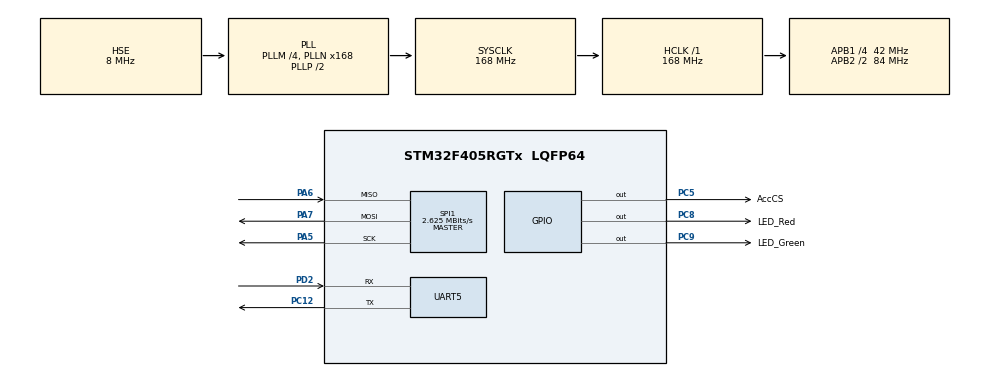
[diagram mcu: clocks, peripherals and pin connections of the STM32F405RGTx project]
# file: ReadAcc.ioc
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Mcu.Family=STM32F4
Mcu.Name=STM32F405RGTx
Mcu.Package=LQFP64
NVIC.PriorityGroup=NVIC_PRIORITYGROUP_4
PA13.Mode=JTAG_5_pins
PA13.Signal=SYS_JTMS-SWDIO
PA14.Mode=JTAG_5_pins
PA14.Signal=SYS_JTCK-SWCLK
PA15.Mode=JTAG_5_pins
PA15.Signal=SYS_JTDI
PA5.Mode=Full_Duplex_Master
PA5.Signal=SPI1_SCK
PA6.Mode=Full_Duplex_Master
PA6.Signal=SPI1_MISO
PA7.Mode=Full_Duplex_Master
PA7.Signal=SPI1_MOSI
PB3.Mode=JTAG_5_pins
PB3.Signal=SYS_JTDO-SWO
PB4.Mode=JTAG_5_pins
PB4.Signal=SYS_JTRST
PC12.Mode=Asynchronous
PC12.Signal=UART5_TX
PC5.GPIO_Label=AccCS
PC5.Signal=GPIO_Output
PC8.GPIO_Label=LED_Red
PC8.Signal=GPIO_Output
PC9.GPIO_Label=LED_Green
PC9.Signal=GPIO_Output
PD2.Mode=Asynchronous
PD2.Signal=UART5_RX
PH0-OSC_IN.Mode=HSE-External-Oscillator
PH0-OSC_IN.Signal=RCC_OSC_IN
PH1-OSC_OUT.Mode=HSE-External-Oscillator
PH1-OSC_OUT.Signal=RCC_OSC_OUT
ProjectManager.HeapSize=0x200
ProjectManager.StackSize=0x400
ProjectManager.TargetToolchain=SW4STM32
RCC.48MHZClocksFreq_Value=84000000
RCC.AHBFreq_Value=168000000
RCC.APB1CLKDivider=RCC_HCLK_DIV4
RCC.APB1Freq_Value=42000000
RCC.APB1TimFreq_Value=84000000
RCC.APB2CLKDivider=RCC_HCLK_DIV2
RCC.APB2Freq_Value=84000000
RCC.APB2TimFreq_Value=168000000
RCC.CortexFreq_Value=168000000
RCC.HCLKFreq_Value=168000000
RCC.HSE_VALUE=8000000
RCC.HSI_VALUE=16000000
RCC.LSE_VALUE=32768
RCC.PLLM=4
RCC.PLLN=168
RCC.PLLSourceVirtual=RCC_PLLSOURCE_HSE
RCC.SYSCLKFreq_VALUE=168000000
RCC.SYSCLKSource=RCC_SYSCLKSOURCE_PLLCLK
RCC.VCOOutputFreq_Value=336000000
SPI1.BaudRatePrescaler=SPI_BAUDRATEPRESCALER_32
SPI1.CalculateBaudRate=2.625 MBits/s
SPI1.Direction=SPI_DIRECTION_2LINES
SPI1.FirstBit=SPI_FIRSTBIT_MSB
SPI1.Mode=SPI_MODE_MASTER
SPI1.VirtualType=VM_MASTER
UART5.VirtualMode=Asynchronous
board=ReadAcc

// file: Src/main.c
/**
  ******************************************************************************
  * File Name          : main.c
  * Description        : Main program body
  ******************************************************************************
  *
  * COPYRIGHT(c) 2017 STMicroelectronics
  *
  * Redistribution and use in source and binary forms, with or without modification,
  * are permitted provided that the following conditions are met:
  *   1. Redistributions of source code must retain the above copyright notice,
  *      this list of conditions and the following disclaimer.
  *   2. Redistributions in binary form must reproduce the above copyright notice,
  *      this list of conditions and the following disclaimer in the documentation
  *      and/or other materials provided with the distribution.
  *   3. Neither the name of STMicroelectronics nor the names of its contributors
  *      may be used to endorse or promote products derived from this software
  *      without specific prior written permission.
  *
  * THIS SOFTWARE IS PROVIDED BY THE COPYRIGHT HOLDERS AND CONTRIBUTORS "AS IS"
  * AND ANY EXPRESS OR IMPLIED WARRANTIES, INCLUDING, BUT NOT LIMITED TO, THE
  * IMPLIED WARRANTIES OF MERCHANTABILITY AND FITNESS FOR A PARTICULAR PURPOSE ARE
  * DISCLAIMED. IN NO EVENT SHALL THE COPYRIGHT HOLDER OR CONTRIBUTORS BE LIABLE
  * FOR ANY DIRECT, INDIRECT, INCIDENTAL, SPECIAL, EXEMPLARY, OR CONSEQUENTIAL
  * DAMAGES (INCLUDING, BUT NOT LIMITED TO, PROCUREMENT OF SUBSTITUTE GOODS OR
  * SERVICES; LOSS OF USE, DATA, OR PROFITS; OR BUSINESS INTERRUPTION) HOWEVER
  * CAUSED AND ON ANY THEORY OF LIABILITY, WHETHER IN CONTRACT, STRICT LIABILITY,
  * OR TORT (INCLUDING NEGLIGENCE OR OTHERWISE) ARISING IN ANY WAY OUT OF THE USE
  * OF THIS SOFTWARE, EVEN IF ADVISED OF THE POSSIBILITY OF SUCH DAMAGE.
  *
  ******************************************************************************
  */
#include "main.h"
#include "stm32f4xx_hal.h"

/* USER CODE BEGIN Includes */
#include <stdio.h>
/* USER CODE END Includes */

SPI_HandleTypeDef hspi1;

UART_HandleTypeDef huart5;

/* USER CODE BEGIN PV */
/* Private variables ---------------------------------------------------------*/

/* USER CODE END PV */

void SystemClock_Config(void);
void Error_Handler(void);
static void MX_GPIO_Init(void);
static void MX_SPI1_Init(void);
static void MX_UART5_Init(void);

/* USER CODE BEGIN PFP */
/* Private function prototypes -----------------------------------------------*/

/* USER CODE END PFP */

/* USER CODE BEGIN 0 */
uint8_t data, address, TxBuff[100];
uint8_t AccRawData[9];
int16_t AccData[3];
float Gravity[3];
/* USER CODE END 0 */

int main(void)
{

  /* MCU Configuration----------------------------------------------------------*/

  /* Reset of all peripherals, Initializes the Flash interface and the Systick. */
  HAL_Init();

  /* Configure the system clock */
  SystemClock_Config();

  /* Initialize all configured peripherals */
  MX_GPIO_Init();
  MX_SPI1_Init();
  MX_UART5_Init();

  /* USER CODE BEGIN 2 */
  uint8_t d[2] = {0x5A,0x00};
  HAL_GPIO_WritePin(AccCS_GPIO_Port, AccCS_Pin, GPIO_PIN_RESET);
  HAL_SPI_Transmit(&hspi1, d, 2, 50);
  HAL_GPIO_WritePin(AccCS_GPIO_Port, AccCS_Pin, GPIO_PIN_SET);
  /* USER CODE END 2 */

  /* Infinite loop */
  while (1)
  {

  /* USER CODE BEGIN 3 */
	  HAL_GPIO_WritePin(AccCS_GPIO_Port, AccCS_Pin, GPIO_PIN_RESET);
	  address = 0x11;
	  HAL_SPI_Transmit(&hspi1, &address, 1, 50);
	  HAL_SPI_Receive(&hspi1, AccRawData, 9, 50);
	  HAL_GPIO_WritePin(AccCS_GPIO_Port, AccCS_Pin, GPIO_PIN_SET);
//	  HAL_GPIO_WritePin(AccCS_GPIO_Port, AccCS_Pin, GPIO_PIN_RESET);
//	  address = 0x5B;
//	  HAL_SPI_Transmit(&hspi1, &address, 1, 50);
//	  HAL_SPI_Receive(&hspi1, &data, 1, 50);
//	  HAL_GPIO_WritePin(AccCS_GPIO_Port, AccCS_Pin, GPIO_PIN_SET);
	  AccData[0] = (((int16_t)AccRawData[0])<<8) | AccRawData[1];
	  AccData[1] = (((int16_t)AccRawData[3])<<8) | AccRawData[4];
	  AccData[2] = (((int16_t)AccRawData[6])<<8) | AccRawData[7];
	  Gravity[0] = (float)AccData[0] * 2.0f / 32768.0f;
	  Gravity[1] = (float)AccData[1] * 2.0f / 32768.0f;
	  Gravity[2] = (float)AccData[2] * 2.0f / 32768.0f;
//	  sprintf(TxBuff, "%d %d %d %d %d %d\r\n",AccRawData[0],AccRawData[1],AccRawData[3],AccRawData[4],AccRawData[6],AccRawData[7]);
//	  sprintf(TxBuff, "%d %d %d\r\n",AccData[0],AccData[1],AccData[2]);
//	  sprintf(TxBuff, "%X\r\n",data);
	  sprintf(TxBuff, "%.3f g %.3f g %.3f g\r\n",Gravity[0],Gravity[1],Gravity[2]);
	  HAL_UART_Transmit(&huart5, TxBuff, strlen(TxBuff), 1000);
	  HAL_Delay(500);

  }
  /* USER CODE END 3 */

}

/** System Clock Configuration
*/
void SystemClock_Config(void)
{

  RCC_OscInitTypeDef RCC_OscInitStruct;
  RCC_ClkInitTypeDef RCC_ClkInitStruct;

    /**Configure the main internal regulator output voltage
    */
  __HAL_RCC_PWR_CLK_ENABLE();

  __HAL_PWR_VOLTAGESCALING_CONFIG(PWR_REGULATOR_VOLTAGE_SCALE1);

    /**Initializes the CPU, AHB and APB busses clocks
    */
  RCC_OscInitStruct.OscillatorType = RCC_OSCILLATORTYPE_HSE;
  RCC_OscInitStruct.HSEState = RCC_HSE_ON;
  RCC_OscInitStruct.PLL.PLLState = RCC_PLL_ON;
  RCC_OscInitStruct.PLL.PLLSource = RCC_PLLSOURCE_HSE;
  RCC_OscInitStruct.PLL.PLLM = 4;
  RCC_OscInitStruct.PLL.PLLN = 168;
  RCC_OscInitStruct.PLL.PLLP = RCC_PLLP_DIV2;
  RCC_OscInitStruct.PLL.PLLQ = 4;
  if (HAL_RCC_OscConfig(&RCC_OscInitStruct) != HAL_OK)
  {
    Error_Handler();
  }

    /**Initializes the CPU, AHB and APB busses clocks
    */
  RCC_ClkInitStruct.ClockType = RCC_CLOCKTYPE_HCLK|RCC_CLOCKTYPE_SYSCLK
                              |RCC_CLOCKTYPE_PCLK1|RCC_CLOCKTYPE_PCLK2;
  RCC_ClkInitStruct.SYSCLKSource = RCC_SYSCLKSOURCE_PLLCLK;
  RCC_ClkInitStruct.AHBCLKDivider = RCC_SYSCLK_DIV1;
  RCC_ClkInitStruct.APB1CLKDivider = RCC_HCLK_DIV4;
  RCC_ClkInitStruct.APB2CLKDivider = RCC_HCLK_DIV2;

  if (HAL_RCC_ClockConfig(&RCC_ClkInitStruct, FLASH_LATENCY_5) != HAL_OK)
  {
    Error_Handler();
  }

    /**Configure the Systick interrupt time
    */
  HAL_SYSTICK_Config(HAL_RCC_GetHCLKFreq()/1000);

    /**Configure the Systick
    */
  HAL_SYSTICK_CLKSourceConfig(SYSTICK_CLKSOURCE_HCLK);

  /* SysTick_IRQn interrupt configuration */
  HAL_NVIC_SetPriority(SysTick_IRQn, 0, 0);
}

/* SPI1 init function */
static void MX_SPI1_Init(void)
{

  hspi1.Instance = SPI1;
  hspi1.Init.Mode = SPI_MODE_MASTER;
  hspi1.Init.Direction = SPI_DIRECTION_2LINES;
  hspi1.Init.DataSize = SPI_DATASIZE_8BIT;
  hspi1.Init.CLKPolarity = SPI_POLARITY_LOW;
  hspi1.Init.CLKPhase = SPI_PHASE_1EDGE;
  hspi1.Init.NSS = SPI_NSS_SOFT;
  hspi1.Init.BaudRatePrescaler = SPI_BAUDRATEPRESCALER_32;
  hspi1.Init.FirstBit = SPI_FIRSTBIT_MSB;
  hspi1.Init.TIMode = SPI_TIMODE_DISABLE;
  hspi1.Init.CRCCalculation = SPI_CRCCALCULATION_DISABLE;
  hspi1.Init.CRCPolynomial = 10;
  if (HAL_SPI_Init(&hspi1) != HAL_OK)
  {
    Error_Handler();
  }

}

/* UART5 init function */
static void MX_UART5_Init(void)
{

  huart5.Instance = UART5;
  huart5.Init.BaudRate = 115200;
  huart5.Init.WordLength = UART_WORDLENGTH_8B;
  huart5.Init.StopBits = UART_STOPBITS_1;
  huart5.Init.Parity = UART_PARITY_NONE;
  huart5.Init.Mode = UART_MODE_TX_RX;
  huart5.Init.HwFlowCtl = UART_HWCONTROL_NONE;
  huart5.Init.OverSampling = UART_OVERSAMPLING_16;
  if (HAL_UART_Init(&huart5) != HAL_OK)
  {
    Error_Handler();
  }

}

/** Configure pins as
        * Analog
        * Input
        * Output
        * EVENT_OUT
        * EXTI
*/
static void MX_GPIO_Init(void)
{

  GPIO_InitTypeDef GPIO_InitStruct;

  /* GPIO Ports Clock Enable */
  __HAL_RCC_GPIOH_CLK_ENABLE();
  __HAL_RCC_GPIOA_CLK_ENABLE();
  __HAL_RCC_GPIOC_CLK_ENABLE();
  __HAL_RCC_GPIOD_CLK_ENABLE();
  __HAL_RCC_GPIOB_CLK_ENABLE();

  /*Configure GPIO pin Output Level */
  HAL_GPIO_WritePin(GPIOC, AccCS_Pin|LED_Red_Pin|LED_Green_Pin, GPIO_PIN_RESET);

  /*Configure GPIO pins : AccCS_Pin LED_Red_Pin LED_Green_Pin */
  GPIO_InitStruct.Pin = AccCS_Pin|LED_Red_Pin|LED_Green_Pin;
  GPIO_InitStruct.Mode = GPIO_MODE_OUTPUT_PP;
  GPIO_InitStruct.Pull = GPIO_NOPULL;
  GPIO_InitStruct.Speed = GPIO_SPEED_FREQ_LOW;
  HAL_GPIO_Init(GPIOC, &GPIO_InitStruct);

}

void Error_Handler(void)
{
  while(1)
  {
  }
}

/************************ (C) COPYRIGHT STMicroelectronics *****END OF FILE****/
